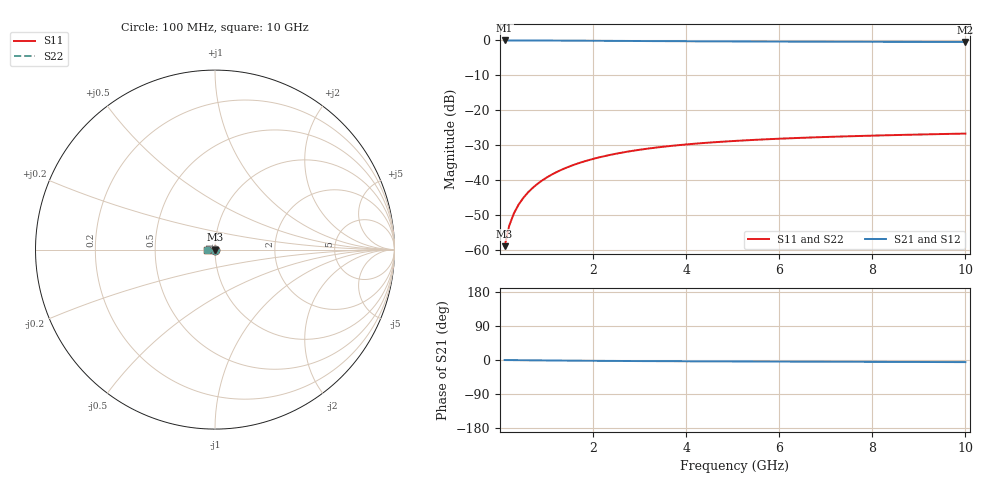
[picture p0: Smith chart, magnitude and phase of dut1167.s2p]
! Touchstone file exported from HFSS 2024.1.0
!  File:  C:/UserFiles/LocalFiles/RDL_TSV_Batchsim/temp_TSV1_1167_1780073463.aedt
!  Generated:  12:55:28 AM May 30, 2026
!  Design:  TSV1
!  Project:  temp_TSV1_1167_1780073463
!  Setup:  Setup1
!  Solution:  Sweep
! Variables:
!  dtsv = 8.04um
!  hbump = 3um
!  htsv = 89.01um
!  lrdl = 252.1521522um
!  p = 40
!  p1 = 41.81um
!  t = 500um
!  trdl = 3um
!  wrdl = 24.89489489um
# GHz S MA R 50.000000
! Terminal data exported
! Port[1] = TSV22_T1
! Port[2] = TSV22_T2
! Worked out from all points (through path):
!   100 points, 100 MHz to 10 GHz, reference 50 ohm
!   highest |S21| = 0.00 dB at 100 MHz (marker M1); lowest = -0.4 dB at 10 GHz (marker M2)
!   lowest |S11| = -59.0 dB at 100 MHz (marker M3), VSWR 1.00, Z = 50 - j0.11 ohm
!   |S11| at or under -10 dB: start of sweep to end of sweep
!   |S22| runs from -59.0 to -26.7 dB; largest |S21 - S12| = 3.9e-15
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0.1  0.001121 -79.2  0.9997 -0.1  0.9997 -0.1  0.001121 -79.2
! Gamma 0 0 0 0
! Port Impedance 50 0 50 0
0.2  0.002215 -86.7  0.9996 -0.2  0.9996 -0.2  0.002215 -86.7
0.3  0.003316 -90.4  0.9994 -0.4  0.9994 -0.4  0.003316 -90.4
0.4  0.004414 -93.1  0.9992 -0.5  0.9992 -0.5  0.004414 -93.1
0.5  0.005504 -95.3  0.9989 -0.6  0.9989 -0.6  0.005504 -95.3
0.6  0.006585 -97.4  0.9986 -0.7  0.9986 -0.7  0.006585 -97.4
0.7  0.007655 -99.3  0.9982 -0.8  0.9982 -0.8  0.007655 -99.3
0.8  0.008713 -101.1  0.9977 -0.9  0.9977 -0.9  0.008713 -101.1
0.9  0.009756 -102.8  0.9972 -1.0  0.9972 -1.0  0.009756 -102.8
1.1  0.01179 -106.2  0.9961 -1.3  0.9961 -1.3  0.01179 -106.2
1.4  0.01471 -110.9  0.9942 -1.6  0.9942 -1.6  0.01471 -110.9
1.6  0.01656 -113.9  0.9927 -1.8  0.9927 -1.8  0.01656 -113.9
1.8  0.01832 -116.8  0.9911 -1.9  0.9911 -1.9  0.01832 -116.8
2.1  0.0208 -120.9  0.9887 -2.2  0.9887 -2.2  0.0208 -120.9
2.5  0.02379 -126.1  0.9854 -2.5  0.9854 -2.5  0.02379 -126.1
2.9  0.02644 -130.9  0.9821 -2.8  0.9821 -2.8  0.02644 -130.9
3.4  0.02933 -136.4  0.9781 -3.1  0.9781 -3.1  0.02933 -136.4
4.2  0.0331 -144.2  0.9725 -3.5  0.9725 -3.5  0.0331 -144.2
5.1  0.03639 -151.6  0.9672 -3.8  0.9672 -3.8  0.03639 -151.6
6.7  0.04062 -162.5  0.9601 -4.4  0.9601 -4.4  0.04062 -162.5
8.4  0.04381 -171.8  0.9549 -5.0  0.9549 -5.0  0.04381 -171.8
10  0.04618 -179.2  0.9515 -5.6  0.9515 -5.6  0.04618 -179.2
